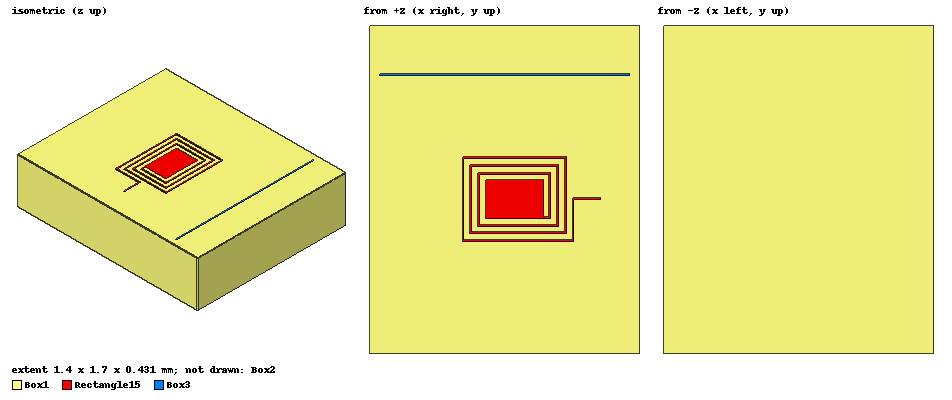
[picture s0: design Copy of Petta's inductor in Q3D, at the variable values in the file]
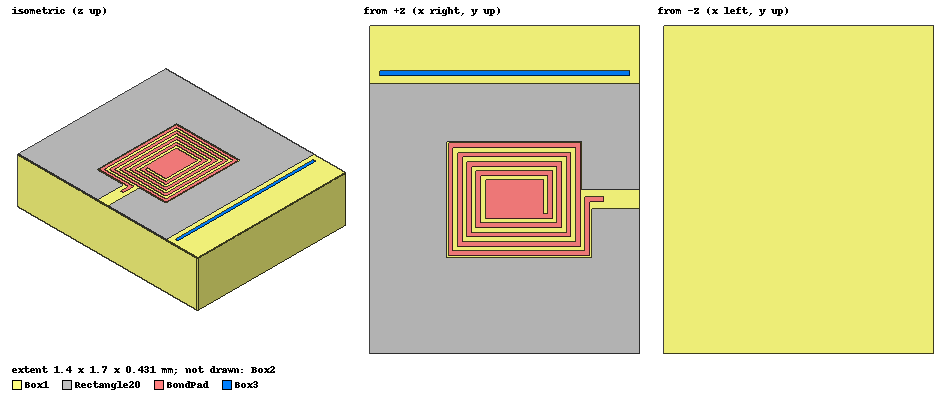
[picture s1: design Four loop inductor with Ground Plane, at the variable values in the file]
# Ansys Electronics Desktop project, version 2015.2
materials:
  vacuum: permittivity=1
  silicon: permittivity=11.9
  perfect conductor: conductivity=1e+030
  copper: permeability=0.999991 conductivity=58000000

design Copy of Petta's inductor in Q3D (Q3D Extractor, model units mm)
options: Calculate_Lossy_Dielectrics
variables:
  TraceW = 10um
  TraceGap = 30um
  BondPadW = 300um
  BondPadL = 200um
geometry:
  Box1 [silicon] = box(corner=(0.8mm, -0.7mm, 0mm), size=(-1.4mm, 1.7mm, -0.43mm))
  Box2 [vacuum] = box(corner=(0.8mm, -0.7mm, -0.43mm), size=(-1.4mm, 1.7mm, 0.86mm))
  Rectangle15 [perfect conductor] = rectangle(corner=(BondPadW + 4*TraceGap + 3*TraceW, 0.5*BondPadL, 0mm), x_size=150um, y_size=TraceW)
  BondPad = rectangle(corner=(0mm, 0mm, 0mm), x_size=BondPadW, y_size=BondPadL)
  Rectangle1 = rectangle(corner=(BondPadW, 0mm, 0mm), x_size=TraceW + TraceGap, y_size=TraceW)
  Rectangle2 = rectangle(corner=(BondPadW + TraceW + TraceGap, TraceW, 0mm), x_size=-TraceW, y_size=BondPadL + TraceGap)
  Rectangle3 = rectangle(corner=(BondPadW+TraceGap, BondPadL+TraceGap, 0mm), x_size=-(2*TraceGap + BondPadW+TraceW), y_size=TraceW)
  Rectangle4 = rectangle(corner=(-TraceGap, BondPadL+TraceGap, 0mm), x_size=-TraceW, y_size=-BondPadL-2*TraceGap)
  Rectangle5 = rectangle(corner=(-TraceGap-TraceW, -TraceGap, 0mm), x_size=3*TraceW+3*TraceGap+BondPadW, y_size=-TraceW)
  Rectangle6 = rectangle(corner=(BondPadW + 2*TraceGap+TraceW, -TraceGap, 0mm), x_size=TraceW, y_size=BondPadL + 3*TraceGap + TraceW)
  Rectangle7 = rectangle(corner=(BondPadW + 2*TraceGap+2*TraceW, BondPadL + 2*TraceGap+TraceW, 0mm), x_size=-(4*TraceW+4*TraceGap+BondPadW), y_size=TraceW)
  Rectangle8 = rectangle(corner=(-2*TraceGap - 2*TraceW, BondPadL +TraceW+2*TraceGap, 0mm), x_size=TraceW, y_size=-(BondPadL+4*TraceGap + 3*TraceW))
  Rectangle9 = rectangle(corner=(-(2*TraceGap+TraceW), -(2*TraceGap+2*TraceW), 0mm), x_size=BondPadW+5*TraceGap+4*TraceW, y_size=TraceW)
  Rectangle10 = rectangle(corner=(BondPadW + 3*TraceGap+3*TraceW, -(2*TraceGap + TraceW), 0mm), x_size=-TraceW, y_size=5*TraceGap + 3*TraceW + BondPadL)
  Rectangle11 = rectangle(corner=(BondPadW + 3*TraceGap + 3*TraceW, BondPadL + 3*TraceGap + 2*TraceW, 0mm), x_size=-(BondPadW + 6*TraceGap + 6*TraceW), y_size=TraceW)
  Rectangle12 = rectangle(corner=(-3*TraceGap-2*TraceW, BondPadL + 3*TraceGap+2*TraceW, 0mm), x_size=-TraceW, y_size=-(BondPadL + 6*TraceGap + 5*TraceW))
  Rectangle13 = rectangle(corner=(-2*TraceW - 3*TraceGap, -3*TraceW - 3*TraceGap, 0mm), x_size=BondPadW + 7*TraceGap + 6*TraceW, y_size=TraceW)
  Rectangle14 = rectangle(corner=(BondPadW + 4*TraceGap + 4*TraceW, -3*TraceGap-2*TraceW, 0mm), x_size=-TraceW, y_size=0.5*(BondPadL + 6*TraceGap + 4*TraceW))
  Rectangle15.unite(BondPad, Rectangle1..Rectangle14)
  Rectangle15.thicken(1um)
  Box3 [perfect conductor] = box(corner=(0.75mm, 0.74mm, 0mm), size=(-1.3mm, TraceW, 1um))
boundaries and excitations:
  Source1: Source Faces=Box3.face(+x) Net=Box3
  Box3: SignalNet Objects=Box3
  Rectangle15: SignalNet Objects=Rectangle15
  Sink1: Sink Faces=Box3.face(-x) Net=Box3
  Source2: Source Faces=Rectangle15.face(at (0.6, 0.105, 0.0005)) Net=Rectangle15
  Sink2: Sink Faces=Rectangle15.face(at (0, 0.1, 0.0005)) Net=Rectangle15
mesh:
  initial mesh: GlobalSurfApproximation{SurfDevChoice=0 NormalDevChoice=1 AspectRatioChoice=1 PullToTrueSurf SetFacePreservationLevel=0}
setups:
  7GHz: Matrix AdaptiveFreq=7GHz SaveFields AC{MaxPass=30 MinPass=3 MinConvPass=2 PerError=0.5 PerRefine=30}
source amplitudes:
  Box3:Source1: AC 1A
  Rectangle15:Source2: AC 0A
  Box3: Cap 0V 0deg
  Rectangle15: Cap 1V 0deg
  Box3:Source1: DC 1A
  Rectangle15:Source2: DC 0A

design Four loop inductor with Ground Plane (Q3D Extractor, model units mm)
options: Calculate_Lossy_Dielectrics
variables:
  TraceW = 25um
  TraceGap = 23um
  BondPadW = 300um
  BondPadL = 200um
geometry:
  Box1 [silicon] = box(corner=(0.8mm, -0.7mm, 0mm), size=(-1.4mm, 1.7mm, -0.43mm))
  Box2 [vacuum] = box(corner=(0.8mm, -0.7mm, -0.43mm), size=(-1.4mm, 1.7mm, 0.86mm))
  BondPad [perfect conductor] = rectangle(corner=(0mm, 0mm, 0mm), x_size=BondPadW, y_size=BondPadL)
  Rectangle1 = rectangle(corner=(BondPadW, 0mm, 0mm), x_size=TraceW + TraceGap, y_size=TraceW)
  Rectangle2 = rectangle(corner=(BondPadW + TraceW + TraceGap, TraceW, 0mm), x_size=-TraceW, y_size=BondPadL + TraceGap)
  Rectangle3 = rectangle(corner=(BondPadW+TraceGap, BondPadL+TraceGap, 0mm), x_size=-(2*TraceGap + BondPadW+TraceW), y_size=TraceW)
  Rectangle4 = rectangle(corner=(-TraceGap, BondPadL+TraceGap, 0mm), x_size=-TraceW, y_size=-BondPadL-2*TraceGap)
  Rectangle5 = rectangle(corner=(-TraceGap-TraceW, -TraceGap, 0mm), x_size=3*TraceW+3*TraceGap+BondPadW, y_size=-TraceW)
  Rectangle6 = rectangle(corner=(BondPadW + 2*TraceGap+TraceW, -TraceGap, 0mm), x_size=TraceW, y_size=BondPadL + 3*TraceGap + TraceW)
  Rectangle7 = rectangle(corner=(BondPadW + 2*TraceGap+2*TraceW, BondPadL + 2*TraceGap+TraceW, 0mm), x_size=-(4*TraceW+4*TraceGap+BondPadW), y_size=TraceW)
  Rectangle8 = rectangle(corner=(-2*TraceGap - 2*TraceW, BondPadL +TraceW+2*TraceGap, 0mm), x_size=TraceW, y_size=-(BondPadL+4*TraceGap + 3*TraceW))
  Rectangle9 = rectangle(corner=(-(2*TraceGap+TraceW), -(2*TraceGap+2*TraceW), 0mm), x_size=BondPadW+5*TraceGap+4*TraceW, y_size=TraceW)
  Rectangle10 = rectangle(corner=(BondPadW + 3*TraceGap+3*TraceW, -(2*TraceGap + TraceW), 0mm), x_size=-TraceW, y_size=5*TraceGap + 3*TraceW + BondPadL)
  Rectangle11 = rectangle(corner=(BondPadW + 3*TraceGap + 3*TraceW, BondPadL + 3*TraceGap + 2*TraceW, 0mm), x_size=-(BondPadW + 6*TraceGap + 6*TraceW), y_size=TraceW)
  Rectangle12 = rectangle(corner=(-3*TraceGap-2*TraceW, BondPadL + 3*TraceGap+2*TraceW, 0mm), x_size=-TraceW, y_size=-(BondPadL + 6*TraceGap + 5*TraceW))
  Rectangle13 = rectangle(corner=(-2*TraceW - 3*TraceGap, -3*TraceW - 3*TraceGap, 0mm), x_size=BondPadW + 7*TraceGap + 6*TraceW, y_size=TraceW)
  Rectangle14 = rectangle(corner=(BondPadW + 4*TraceGap + 4*TraceW, -3*TraceGap-2*TraceW, 0mm), x_size=-TraceW, y_size=(BondPadL + 7*TraceGap + 5*TraceW))
  Box3 [perfect conductor] = box(corner=(0.75mm, 0.74mm, 0mm), size=(-1.3mm, TraceW, 1um))
  Rectangle15 = rectangle(corner=(BondPadW + 4*TraceGap + 4*TraceW, BondPadL+4*TraceGap+3*TraceW, 0mm), x_size=-(8*TraceGap+BondPadW+8*TraceW), y_size=TraceW)
  Rectangle16 = rectangle(corner=(-(4*TraceGap+4*TraceW), BondPadL+4*TraceGap+3*TraceW, 0mm), x_size=TraceW, y_size=-(8*TraceGap+7*TraceW+BondPadL))
  Rectangle17 = rectangle(corner=(-(3*TraceW+4*TraceGap), -(4*TraceW+4*TraceGap), 0mm), x_size=9*TraceGap+BondPadW+8*TraceW, y_size=TraceW)
  Rectangle18 = rectangle(corner=(BondPadW + 5*TraceGap+5*TraceW, -(4*TraceGap+3*TraceW), 0mm), x_size=-TraceW, y_size=0.5*(8*TraceGap + 7*TraceW+BondPadL))
  Rectangle19 = rectangle(corner=(BondPadW+5*TraceGap + 4*TraceW, 0.5*BondPadL-0.5*TraceW, 0mm), x_size=100um, y_size=TraceW)
  BondPad.unite(Rectangle1..Rectangle19)
  BondPad.thicken(1um)
  Rectangle20 [perfect conductor] = rectangle(corner=(0.8mm, -0.7mm, 0mm), x_size=-1.4mm, y_size=0.5mm)
  Rectangle21 = rectangle(corner=(-0.6mm, -0.2mm, 0mm), x_size=0.4mm, y_size=0.9mm)
  Rectangle22 = rectangle(corner=(0.8mm, -0.2mm, 0mm), x_size=-0.25mm, y_size=0.25mm)
  Rectangle23 = rectangle(corner=(-0.2mm, 0.7mm, 0mm), x_size=1mm, y_size=-0.3mm)
  Rectangle24 = rectangle(corner=(0.5mm, 0.4mm, 0mm), x_size=0.3mm, y_size=-0.25mm)
  Rectangle20.unite(Rectangle22, Rectangle21, Rectangle23, Rectangle24)
  Rectangle20.thicken(-1um)
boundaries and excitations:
  Source1: Source Faces=BondPad.face(at (0.615, 0.1, 0.0005)) Net=BondPad
  Rectangle20: GroundNet Objects=Rectangle20
  Box3: SignalNet Objects=Box3
  BondPad: SignalNet Objects=BondPad
  Sink1: Sink Faces=BondPad.face(at (0, 0.1, 0.0005)) Net=BondPad
  Sink2: Sink Faces=Box3.face(-x) Net=Box3
  Source2: Source Faces=Box3.face(+x) Net=Box3
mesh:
  initial mesh: GlobalSurfApproximation{SurfDevChoice=0 NormalDevChoice=1 AspectRatioChoice=1 PullToTrueSurf SetFacePreservationLevel=0}
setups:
  7GHz: Matrix AdaptiveFreq=7GHz SaveFields Cap{MaxPass=10 MinPass=1 MinConvPass=1 PerError=1 PerRefine=30 AutoIncreaseSolutionOrder SolutionOrder=Normal} AC{MaxPass=30 MinPass=3 MinConvPass=2 PerError=1 PerRefine=30}
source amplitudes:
  BondPad:Source1: AC 1A
  Box3:Source2: AC 0A
  BondPad: Cap 1V 0deg
  Box3: Cap 0V 0deg
  BondPad:Source1: DC 1A
  Box3:Source2: DC 0A
